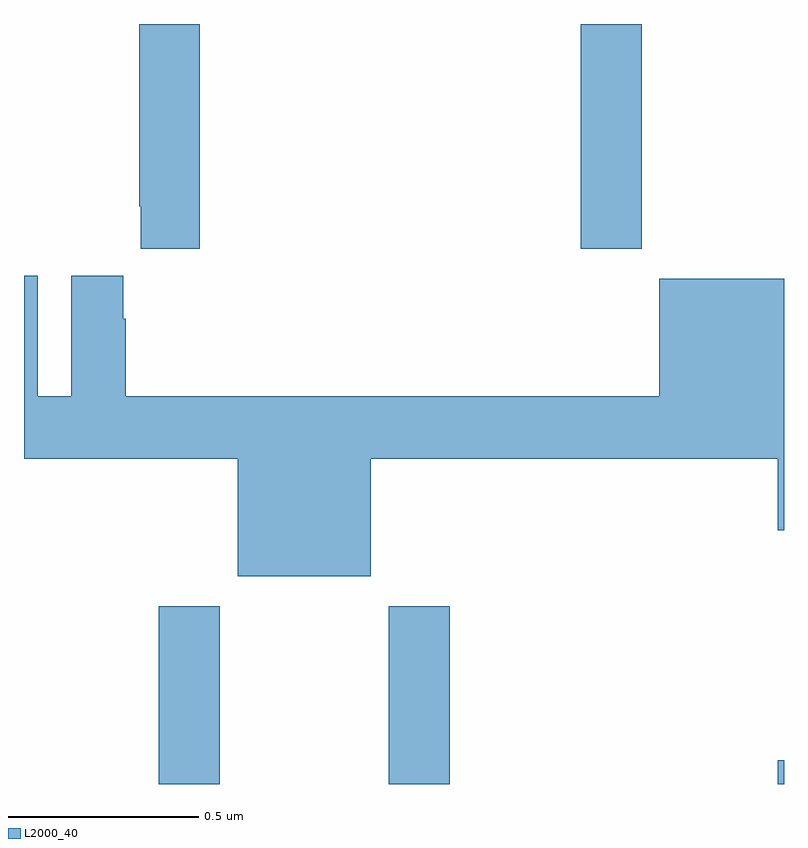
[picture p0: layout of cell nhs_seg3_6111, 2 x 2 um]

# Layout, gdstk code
import gdstk
lib = gdstk.Library(unit=1e-6, precision=1e-09)
def R(c, l, rs):  # rectangles x0, y0, x1, y1
    for r in rs: c.add(gdstk.rectangle(r[:2], r[2:], *l))
def P(c, l, *ps):  # polygons
    for p in ps: c.add(gdstk.Polygon(p, *l))
L2000_40 = (2000, 40)

nhs_seg3_6111 = lib.new_cell('nhs_seg3_6111')
R(nhs_seg3_6111, L2000_40, [(187.355,693.4,187.515,693.868), (187.96,693.4,188.12,693.868), (188.984,693.4,189,693.463), (188.465,694.809,188.625,695.4)])
P(nhs_seg3_6111, L2000_40, [(187.463,695.4),(187.303,695.4),(187.303,694.921),(187.307,694.921),(187.307,694.809),(187.463,694.809)],
  [(187.912,694.256),(188.984,694.256),(188.984,694.068),(189,694.068),(189,694.729),(188.672,694.729),(188.672,694.42),(187.268,694.42),(187.268,694.625),(187.261,694.625),(187.261,694.738),(187.124,694.738),(187.124,694.42),(187.036,694.42),(187.036,694.738),(187,694.738),(187,694.256),(187.562,694.256),(187.562,693.947),(187.912,693.947)])

lib.write_gds('nhs_seg3_6111.gds')
